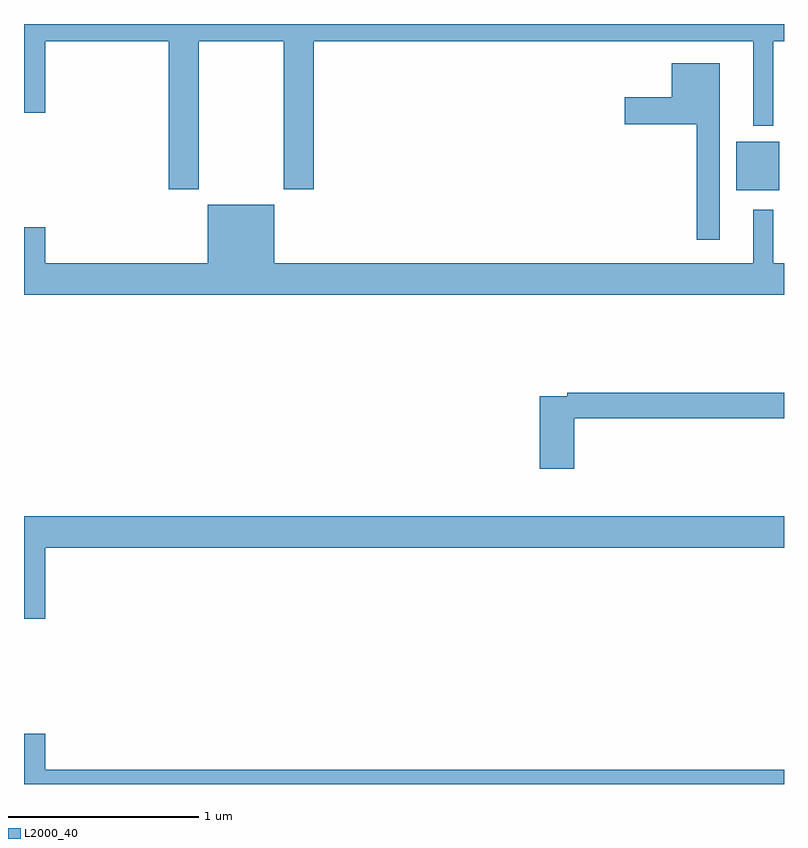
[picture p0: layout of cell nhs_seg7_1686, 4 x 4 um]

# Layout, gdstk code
import gdstk
lib = gdstk.Library(unit=1e-6, precision=1e-09)
def R(c, l, rs):  # rectangles x0, y0, x1, y1
    for r in rs: c.add(gdstk.rectangle(r[:2], r[2:], *l))
def P(c, l, *ps):  # polygons
    for p in ps: c.add(gdstk.Polygon(p, *l))
L2000_40 = (2000, 40)

nhs_seg7_1686 = lib.new_cell('nhs_seg7_1686')
R(nhs_seg7_1686, L2000_40, [(228.749,1041.125,228.976,1041.379)])
P(nhs_seg7_1686, L2000_40, [(225,1041.534),(225.112,1041.534),(225.112,1041.908),(225.761,1041.908),(225.761,1041.129),(225.921,1041.129),(225.921,1041.908),(226.366,1041.908),(226.366,1041.129),(226.526,1041.129),(226.526,1041.908),(228.839,1041.908),(228.839,1041.464),(228.943,1041.464),(228.943,1041.908),(229,1041.908),(229,1042),(225,1042)],
  [(228.661,1041.793),(228.41,1041.793),(228.41,1041.615),(228.162,1041.615),(228.162,1041.473),(228.54,1041.473),(228.54,1040.865),(228.661,1040.865)],
  [(229,1040.74),(228.943,1040.74),(228.943,1041.022),(228.839,1041.022),(228.839,1040.74),(226.318,1040.74),(226.318,1041.049),(225.968,1041.049),(225.968,1040.74),(225.112,1040.74),(225.112,1040.929),(225,1040.929),(225,1040.576),(229,1040.576)],
  [(227.897,1039.924),(229,1039.924),(229,1040.06),(227.86,1040.06),(227.86,1040.04),(227.714,1040.04),(227.714,1039.659),(227.897,1039.659)],
  [(225.112,1039.244),(229,1039.244),(229,1039.408),(225,1039.408),(225,1038.87),(225.112,1038.87)],
  [(229,1038.076),(225.112,1038.076),(225.112,1038.265),(225,1038.265),(225,1038),(229,1038)])

lib.write_gds('nhs_seg7_1686.gds')
